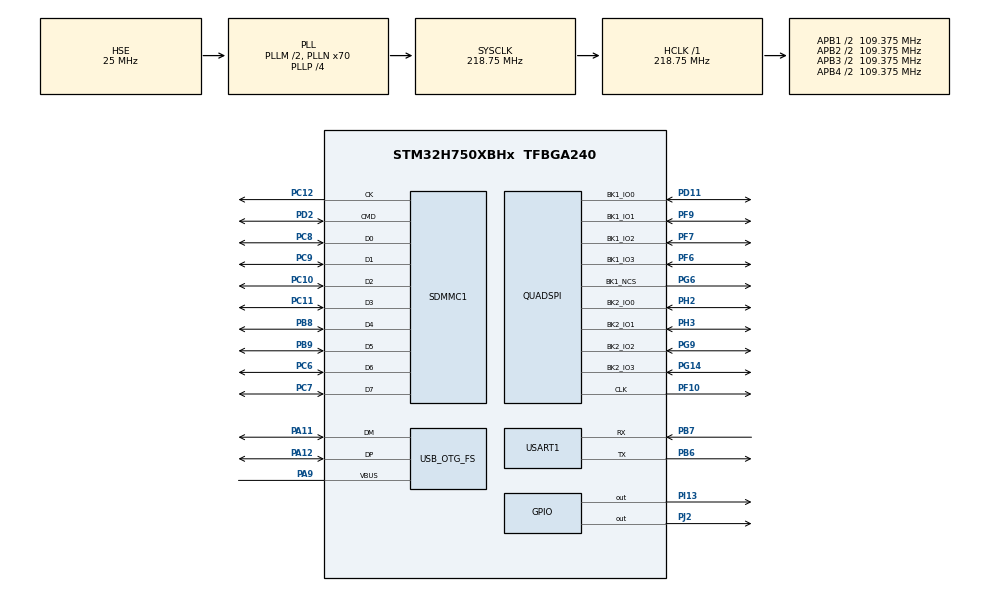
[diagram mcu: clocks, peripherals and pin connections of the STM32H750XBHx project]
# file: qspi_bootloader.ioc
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CORTEX_M7.CPU_DCache=Disabled
CORTEX_M7.CPU_ICache=Enabled
FATFS._USE_LFN=1
Mcu.Family=STM32H7
Mcu.Name=STM32H750XBHx
Mcu.Package=TFBGA240
NVIC.OTG_FS_IRQn=true\:0\:0\:false\:false\:true\:false\:true\:true
NVIC.PriorityGroup=NVIC_PRIORITYGROUP_4
PA11.Mode=Device_Only
PA11.Signal=USB_OTG_FS_DM
PA12.Mode=Device_Only
PA12.Signal=USB_OTG_FS_DP
PA9.Mode=Activate_VBUS
PA9.Signal=USB_OTG_FS_VBUS
PB6.Mode=Asynchronous
PB6.Signal=USART1_TX
PB7.Mode=Asynchronous
PB7.Signal=USART1_RX
PB8.Mode=mmc_8_bits_Wide_bus
PB8.Signal=SDMMC1_D4
PB9.Mode=mmc_8_bits_Wide_bus
PB9.Signal=SDMMC1_D5
PC10.Mode=mmc_8_bits_Wide_bus
PC10.Signal=SDMMC1_D2
PC11.Mode=mmc_8_bits_Wide_bus
PC11.Signal=SDMMC1_D3
PC12.Mode=mmc_8_bits_Wide_bus
PC12.Signal=SDMMC1_CK
PC6.Mode=mmc_8_bits_Wide_bus
PC6.Signal=SDMMC1_D6
PC7.Mode=mmc_8_bits_Wide_bus
PC7.Signal=SDMMC1_D7
PC8.Mode=mmc_8_bits_Wide_bus
PC8.Signal=SDMMC1_D0
PC9.Mode=mmc_8_bits_Wide_bus
PC9.Signal=SDMMC1_D1
PD11.GPIO_Speed=GPIO_SPEED_FREQ_VERY_HIGH
PD11.Mode=Dual_Bank
PD11.Signal=QUADSPI_BK1_IO0
PD2.Mode=mmc_8_bits_Wide_bus
PD2.Signal=SDMMC1_CMD
PF10.GPIO_Speed=GPIO_SPEED_FREQ_VERY_HIGH
PF10.Mode=Dual_Bank
PF10.Signal=QUADSPI_CLK
PF6.GPIO_Speed=GPIO_SPEED_FREQ_VERY_HIGH
PF6.Mode=Dual_Bank
PF6.Signal=QUADSPI_BK1_IO3
PF7.GPIO_Speed=GPIO_SPEED_FREQ_VERY_HIGH
PF7.Mode=Dual_Bank
PF7.Signal=QUADSPI_BK1_IO2
PF9.GPIO_Speed=GPIO_SPEED_FREQ_VERY_HIGH
PF9.Mode=Dual_Bank
PF9.Signal=QUADSPI_BK1_IO1
PG14.GPIO_Speed=GPIO_SPEED_FREQ_VERY_HIGH
PG14.Mode=Dual_Bank
PG14.Signal=QUADSPI_BK2_IO3
PG6.GPIO_Speed=GPIO_SPEED_FREQ_VERY_HIGH
PG6.Mode=Enable Chip Select 1 for both banks
PG6.Signal=QUADSPI_BK1_NCS
PG9.GPIO_Speed=GPIO_SPEED_FREQ_VERY_HIGH
PG9.Mode=Dual_Bank
PG9.Signal=QUADSPI_BK2_IO2
PH0-OSC_IN\ (PH0).Mode=HSE-External-Clock-Source
PH0-OSC_IN\ (PH0).Signal=RCC_OSC_IN
PH2.GPIO_Speed=GPIO_SPEED_FREQ_VERY_HIGH
PH2.Mode=Dual_Bank
PH2.Signal=QUADSPI_BK2_IO0
PH3.GPIO_Speed=GPIO_SPEED_FREQ_VERY_HIGH
PH3.Mode=Dual_Bank
PH3.Signal=QUADSPI_BK2_IO1
PI13.Signal=GPIO_Output
PJ2.Signal=GPIO_Output
ProjectManager.HeapSize=0x200
ProjectManager.StackSize=0x400
ProjectManager.TargetToolchain=STM32CubeIDE
QUADSPI.ChipSelectHighTime=QSPI_CS_HIGH_TIME_3_CYCLE
QUADSPI.ClockPrescaler=0
QUADSPI.FlashSize=26
RCC.ADCFreq_Value=37500000
RCC.APB1Freq_Value=109375000
RCC.APB2Freq_Value=109375000
RCC.APB3Freq_Value=109375000
RCC.APB4Freq_Value=109375000
RCC.CortexFreq_Value=218750000
RCC.D1PPRE=RCC_APB3_DIV2
RCC.D2PPRE1=RCC_APB1_DIV2
RCC.D2PPRE2=RCC_APB2_DIV2
RCC.D3PPRE=RCC_APB4_DIV2
RCC.DIVM1=2
RCC.DIVM2=2
RCC.DIVM3=5
RCC.DIVN1=70
RCC.DIVN2=12
RCC.DIVN3=80
RCC.DIVP1=4
RCC.DIVP2=4
RCC.DIVQ1=14
RCC.DIVQ3=8
RCC.HCLKFreq_Value=218750000
RCC.PLL2FRACN=0
RCC.PLL3FRACN=0
RCC.PLLFRACN=0
RCC.PLLSourceVirtual=RCC_PLLSOURCE_HSE
RCC.QSPICLockSelection=RCC_QSPICLKSOURCE_PLL
RCC.SDMMC1CLockSelection=RCC_SDMMCCLKSOURCE_PLL2
RCC.SYSCLKFreq_VALUE=218750000
RCC.SYSCLKSource=RCC_SYSCLKSOURCE_PLLCLK
RCC.USART16CLockSelection=RCC_USART16CLKSOURCE_PLL2
RCC.USBCLockSelection=RCC_USBCLKSOURCE_PLL3
RCC.USBFreq_Value=50000000
SDMMC1.ClockDiv=2
SDMMC1.HardwareFlowControl=SDMMC_HARDWARE_FLOW_CONTROL_ENABLE
USART1.VirtualMode-Asynchronous=VM_ASYNC
USB_DEVICE.CLASS_NAME_FS=MSC
USB_DEVICE.VirtualMode-MSC_FS=Msc
USB_DEVICE.VirtualModeFS=Msc_FS
USB_OTG_FS.VirtualMode=Device_Only
VP_FATFS_VS_Generic.Mode=User_defined
VP_MEMORYMAP_VS_MEMORYMAP.Mode=CurAppReg
VP_USB_DEVICE_VS_USB_DEVICE_MSC_FS.Mode=MSC_FS
board=STM32H750B-DK

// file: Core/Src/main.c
/* USER CODE BEGIN Header */
/**
  ******************************************************************************
  * @file           : main.c
  * @brief          : Main program body
  ******************************************************************************
  * @attention
  *
  * Copyright (c) 2026 STMicroelectronics.
  * All rights reserved.
  *
  * This software is licensed under terms that can be found in the LICENSE file
  * in the root directory of this software component.
  * If no LICENSE file comes with this software, it is provided AS-IS.
  *
  ******************************************************************************
  */
/* USER CODE END Header */
#include "main.h"
#include "fatfs.h"
#include "memorymap.h"
#include "quadspi.h"
#include "sdmmc.h"
#include "usart.h"
#include "usb_device.h"
#include "gpio.h"

/* USER CODE BEGIN Includes */
#include "bootloader.h"
#include <string.h>
#include <stdio.h>
/* USER CODE END Includes */

void SystemClock_Config(void);
void PeriphCommonClock_Config(void);

/* USER CODE BEGIN 0 */
#define UPDATE_DIRECTORY "boot/qspi_xip_test.bin"
#define SECOND_BANK_ADDR  0x91000000
#define APP_CRC_ADDR      0x00FFFFFC

FATFS fs;
char path[4];
/* USER CODE END 0 */

int main(void)
{

  /* Enable the CPU Cache */

  /* Enable I-Cache---------------------------------------------------------*/
  SCB_EnableICache();

  /* MCU Configuration--------------------------------------------------------*/

  /* Reset of all peripherals, Initializes the Flash interface and the Systick. */
  HAL_Init();

  /* Configure the system clock */
  SystemClock_Config();

  /* Configure the peripherals common clocks */
  PeriphCommonClock_Config();

  /* Initialize all configured peripherals */
  MX_GPIO_Init();
  MX_QUADSPI_Init();
  MX_SDMMC1_MMC_Init();
  MX_USART1_UART_Init();
  MX_USB_DEVICE_Init();
  MX_FATFS_Init();
  /* USER CODE BEGIN 2 */
  if (CSP_QUADSPI_Init() != HAL_OK)
  {
    Error_Handler();
  }
  FATFS_LinkDriver(&USER_Driver,path);
  disk_initialize(0);
  if(f_mount(&fs, path, 1)!=FR_OK){
    Error_Handler();
  }
  FIL file;
  UINT bytes_read;
  uint8_t buffer[512];
  FRESULT open_result=f_open(&file,UPDATE_DIRECTORY,FA_READ);
  if(open_result!=FR_OK){
    Error_Handler();
  }
  //uint8_t size_count=0;
  CSP_QSPI_EraseBlock(SECOND_BANK_ADDR&~0x90000000,QSPI_ERASE_128K);
  for(uint8_t i=0;i<112;i++){
    f_read(&file,buffer,sizeof(buffer),&bytes_read);
    CSP_QSPI_WriteMemory(buffer, (SECOND_BANK_ADDR+(i*512))&~0x90000000, 512);
  }
  f_mount(NULL, path, 1);
  SCB_CleanInvalidateDCache();
  BootSwitchToExtFlash();
  /* USER CODE END 2 */

  /* Infinite loop */
  while (1)
  {

  }
}

void SystemClock_Config(void)
{
  RCC_OscInitTypeDef RCC_OscInitStruct = {0};
  RCC_ClkInitTypeDef RCC_ClkInitStruct = {0};

  /** Supply configuration update enable
  */
  HAL_PWREx_ConfigSupply(PWR_LDO_SUPPLY);

  /** Configure the main internal regulator output voltage
  */
  __HAL_PWR_VOLTAGESCALING_CONFIG(PWR_REGULATOR_VOLTAGE_SCALE2);

  while(!__HAL_PWR_GET_FLAG(PWR_FLAG_VOSRDY)) {}

  /** Initializes the RCC Oscillators according to the specified parameters
  * in the RCC_OscInitTypeDef structure.
  */
  RCC_OscInitStruct.OscillatorType = RCC_OSCILLATORTYPE_HSE;
  RCC_OscInitStruct.HSEState = RCC_HSE_BYPASS;
  RCC_OscInitStruct.PLL.PLLState = RCC_PLL_ON;
  RCC_OscInitStruct.PLL.PLLSource = RCC_PLLSOURCE_HSE;
  RCC_OscInitStruct.PLL.PLLM = 2;
  RCC_OscInitStruct.PLL.PLLN = 70;
  RCC_OscInitStruct.PLL.PLLP = 4;
  RCC_OscInitStruct.PLL.PLLQ = 14;
  RCC_OscInitStruct.PLL.PLLR = 2;
  RCC_OscInitStruct.PLL.PLLRGE = RCC_PLL1VCIRANGE_3;
  RCC_OscInitStruct.PLL.PLLVCOSEL = RCC_PLL1VCOWIDE;
  RCC_OscInitStruct.PLL.PLLFRACN = 0;
  if (HAL_RCC_OscConfig(&RCC_OscInitStruct) != HAL_OK)
  {
    Error_Handler();
  }

  /** Initializes the CPU, AHB and APB buses clocks
  */
  RCC_ClkInitStruct.ClockType = RCC_CLOCKTYPE_HCLK|RCC_CLOCKTYPE_SYSCLK
                              |RCC_CLOCKTYPE_PCLK1|RCC_CLOCKTYPE_PCLK2
                              |RCC_CLOCKTYPE_D3PCLK1|RCC_CLOCKTYPE_D1PCLK1;
  RCC_ClkInitStruct.SYSCLKSource = RCC_SYSCLKSOURCE_PLLCLK;
  RCC_ClkInitStruct.SYSCLKDivider = RCC_SYSCLK_DIV1;
  RCC_ClkInitStruct.AHBCLKDivider = RCC_HCLK_DIV1;
  RCC_ClkInitStruct.APB3CLKDivider = RCC_APB3_DIV2;
  RCC_ClkInitStruct.APB1CLKDivider = RCC_APB1_DIV2;
  RCC_ClkInitStruct.APB2CLKDivider = RCC_APB2_DIV2;
  RCC_ClkInitStruct.APB4CLKDivider = RCC_APB4_DIV2;

  if (HAL_RCC_ClockConfig(&RCC_ClkInitStruct, FLASH_LATENCY_3) != HAL_OK)
  {
    Error_Handler();
  }
}

void PeriphCommonClock_Config(void)
{
  RCC_PeriphCLKInitTypeDef PeriphClkInitStruct = {0};

  /** Initializes the peripherals clock
  */
  PeriphClkInitStruct.PeriphClockSelection = RCC_PERIPHCLK_SDMMC|RCC_PERIPHCLK_USART1;
  PeriphClkInitStruct.PLL2.PLL2M = 2;
  PeriphClkInitStruct.PLL2.PLL2N = 12;
  PeriphClkInitStruct.PLL2.PLL2P = 4;
  PeriphClkInitStruct.PLL2.PLL2Q = 2;
  PeriphClkInitStruct.PLL2.PLL2R = 2;
  PeriphClkInitStruct.PLL2.PLL2RGE = RCC_PLL2VCIRANGE_3;
  PeriphClkInitStruct.PLL2.PLL2VCOSEL = RCC_PLL2VCOMEDIUM;
  PeriphClkInitStruct.PLL2.PLL2FRACN = 0;
  PeriphClkInitStruct.SdmmcClockSelection = RCC_SDMMCCLKSOURCE_PLL2;
  PeriphClkInitStruct.Usart16ClockSelection = RCC_USART16CLKSOURCE_PLL2;
  if (HAL_RCCEx_PeriphCLKConfig(&PeriphClkInitStruct) != HAL_OK)
  {
    Error_Handler();
  }
}

void Error_Handler(void)
{
  __disable_irq();
  while (1)
  {
  }
}
